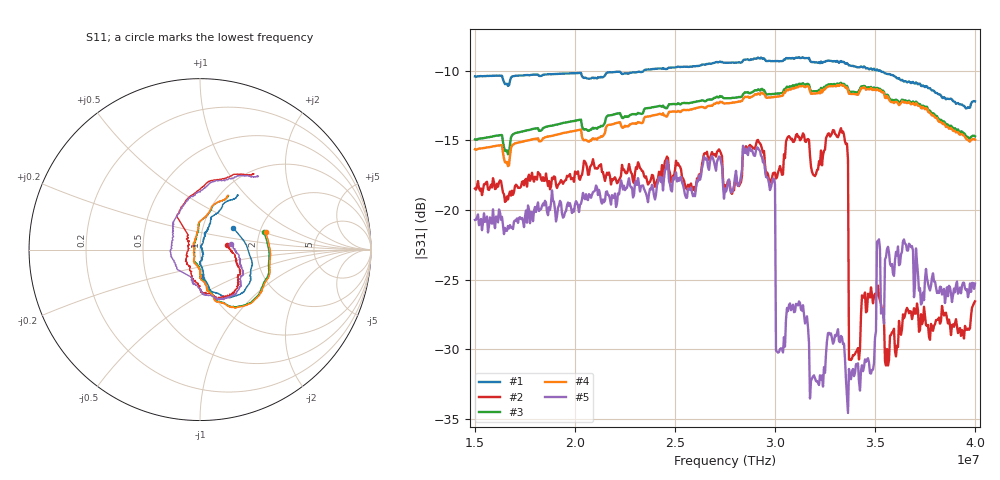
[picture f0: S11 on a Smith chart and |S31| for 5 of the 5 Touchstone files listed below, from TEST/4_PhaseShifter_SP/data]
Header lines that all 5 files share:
!Calibration ON : 4P/1,2,3,4
!Balanced Topology: BBAL
!Sweep Type: lin Frequency Sweep
!S4P File: Measurements: <Sdd11, Sdc11, Sdd12, Sdc12>,
!<Scd11, Scc11, Scd12, Scc12>,
!<Sdd21, Sdc21, Sdd22, Sdc22>,
!<Scd21, Scc21, Scd22, Scc22>:
! # Hz  S  MA  R 50.000
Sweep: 1.5e+07 THz to 4e+07 THz
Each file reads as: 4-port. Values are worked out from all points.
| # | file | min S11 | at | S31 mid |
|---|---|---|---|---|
| 1 | I0_Q0.s4p | -40.8 dB | 3.3e+07 THz | -9.4 dB at 2.75e+07 THz |
| 2 | I0_Q8.s4p | -23.9 dB | 3.23e+07 THz | -18.2 dB at 2.75e+07 THz |
| 3 | I0_Q16.s4p | -30.8 dB | 3.445e+07 THz | -12.0 dB at 2.75e+07 THz |
| 4 | I0_Q24.s4p | -29.9 dB | 3.445e+07 THz | -12.4 dB at 2.75e+07 THz |
| 5 | I0_Q32.s4p | -15.7 dB | 3.065e+07 THz | -18.5 dB at 2.75e+07 THz |
